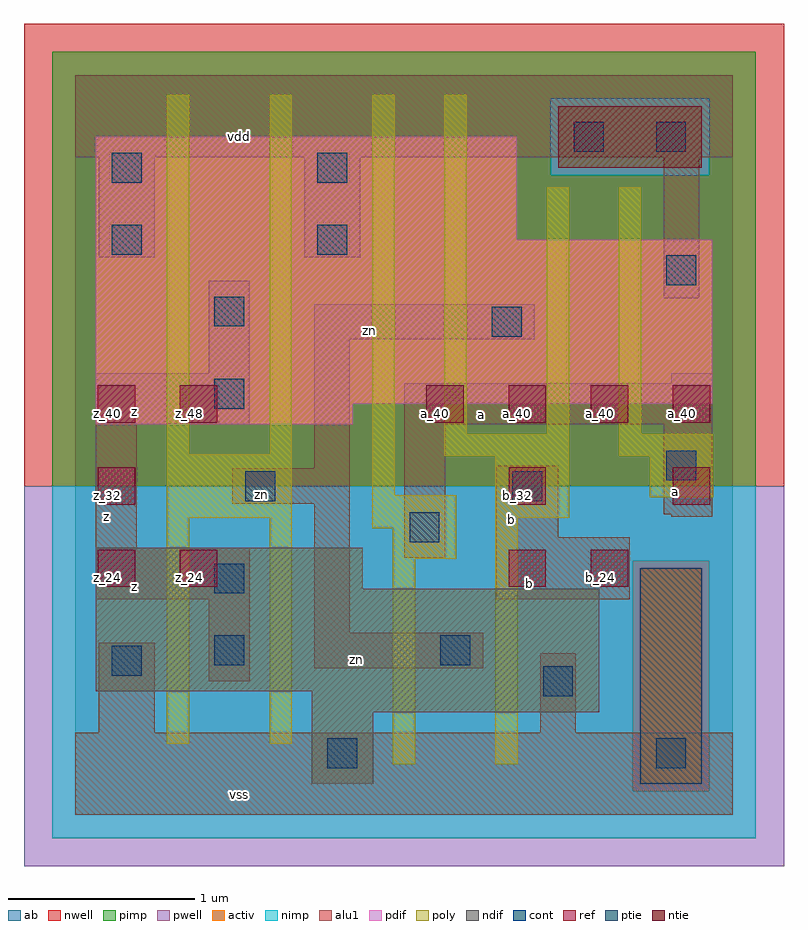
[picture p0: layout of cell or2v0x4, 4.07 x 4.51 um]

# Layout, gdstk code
import gdstk
lib = gdstk.Library(unit=1e-6, precision=2.5e-09)
def R(c, l, rs):  # rectangles x0, y0, x1, y1
    for r in rs: c.add(gdstk.rectangle(r[:2], r[2:], *l))
def A(c, l, x, y, w, h, nx, ny, dx, dy):  # array of equal rectangles
    R(c, l, [(x+i*dx, y+j*dy, x+i*dx+w, y+j*dy+h) for i in range(nx) for j in range(ny)])
ndif = (3, 0)
pdif = (4, 0)
ntie = (5, 0)
ptie = (6, 0)
ref = (24, 0)
cont = (25, 0)
pwell = (41, 0)
nwell = (42, 0)
activ = (43, 0)
pimp = (44, 0)
nimp = (45, 0)
poly = (46, 0)
alu1 = (49, 0)
ab = (63, 0)

or2v0x4 = lib.new_cell('or2v0x4')
R(or2v0x4, ndif, [(1.265,0.165,1.595,0.55), (1.265,0.55,2.805,0.66), (0.11,0.66,2.805,1.21), (0.11,1.21,1.54,1.43)])
R(or2v0x4, pdif, [(0.11,2.09,1.485,2.2), (0.11,2.2,3.41,3.08), (0.11,3.08,2.365,3.63)])
R(or2v0x4, ntie, [(2.585,3.465,3.355,3.795)])
R(or2v0x4, ptie, [(3.025,0.165,3.355,1.32)])
A(or2v0x4, ref, 0.12, 1.22, 0.2, 0.2, 1, 3, 0, 0.44)
A(or2v0x4, ref, 1.88, 2.1, 0.2, 0.2, 4, 1, 0.44, 0)
R(or2v0x4, ref, [(0.56,1.22,0.76,1.42), (2.32,1.22,2.52,1.42), (2.76,1.22,2.96,1.42), (2.32,1.66,2.52,1.86), (3.2,1.66,3.4,1.86), (0.56,2.1,0.76,2.3)])
R(or2v0x4, cont, [(1.35,0.25,1.51,0.41), (3.11,0.25,3.27,0.41), (2.505,0.635,2.665,0.795), (0.195,0.745,0.355,0.905), (0.745,0.8,0.905,0.96), (1.955,0.8,2.115,0.96), (0.745,1.185,0.905,1.345), (1.79,1.46,1.95,1.62), (0.91,1.68,1.07,1.84), (2.34,1.68,2.5,1.84), (3.165,1.79,3.325,1.95), (0.745,2.175,0.905,2.335), (2.23,2.56,2.39,2.72), (0.745,2.615,0.905,2.775), (3.165,2.835,3.325,2.995), (0.195,3,0.355,3.16), (1.295,3,1.455,3.16), (0.195,3.385,0.355,3.545), (1.295,3.385,1.455,3.545), (2.67,3.55,2.83,3.71), (3.11,3.55,3.27,3.71)])
R(or2v0x4, pwell, [(-0.275,-0.275,3.795,1.76)])
R(or2v0x4, nwell, [(-0.275,1.76,3.795,4.235)])
R(or2v0x4, activ, [(1.265,0.165,1.595,0.55), (3.025,0.165,3.355,1.32), (1.265,0.55,2.805,0.66), (0.11,0.66,2.805,1.21), (0.11,1.21,1.54,1.43), (0.11,2.09,1.485,2.2), (0.11,2.2,3.41,3.08), (0.11,3.08,2.365,3.63), (2.585,3.465,3.355,3.795)])
R(or2v0x4, pimp, [(2.985,0.125,3.395,1.36), (-0.125,1.76,3.645,3.425), (-0.125,3.425,2.545,3.835), (3.395,3.425,3.645,3.835), (-0.125,3.835,3.645,4.085)])
R(or2v0x4, nimp, [(-0.125,-0.125,3.645,0.125), (-0.125,0.125,2.985,1.36), (3.395,0.125,3.645,1.36), (-0.125,1.36,3.645,1.76), (2.545,3.425,3.395,3.835)])
R(or2v0x4, poly, [(1.7,0.27,1.82,1.37), (2.25,0.27,2.37,1.59), (0.49,0.38,0.61,1.59), (1.04,0.38,1.16,1.59), (1.7,1.37,2.04,1.535), (1.59,1.535,2.04,1.71), (0.49,1.59,1.16,1.93), (2.25,1.59,2.645,1.92), (3.075,1.7,3.415,1.92), (1.59,1.71,1.71,3.855), (1.975,1.92,2.645,2.04), (2.91,1.92,3.415,2.04), (0.49,1.93,0.61,3.855), (1.04,1.93,1.16,3.855), (1.975,2.04,2.095,3.855), (2.525,2.04,2.645,3.36), (2.91,2.04,3.03,3.36)])
R(or2v0x4, alu1, [(0,0,3.52,0.44), (0.125,0.44,0.425,0.92), (2.49,0.44,2.68,0.865), (0.715,0.715,0.935,1.155), (1.28,0.785,2.185,0.975), (1.28,0.975,1.47,1.665), (0.11,1.155,0.935,1.43), (2.255,1.155,2.97,1.485), (1.76,1.375,1.98,2.09), (0.11,1.43,0.33,2.09), (2.255,1.485,2.585,1.87), (3.19,1.595,3.41,1.61), (3.15,1.61,3.41,2.09), (0.84,1.665,1.47,1.855), (1.28,1.855,1.47,2.545), (0.11,2.09,0.935,2.365), (1.76,2.09,3.41,2.31), (3.19,2.31,3.41,2.365), (0.715,2.365,0.935,2.86), (1.28,2.545,2.46,2.735), (3.15,2.765,3.34,3.52), (0.125,2.985,0.425,3.52), (1.225,2.985,1.525,3.52), (0,3.52,3.52,3.96)])
R(or2v0x4, ab, [(0,0,3.52,3.96)])
or2v0x4.add(gdstk.Label('vss', (0.88,0.11), layer=49, texttype=0))
or2v0x4.add(gdstk.Label('zn', (1.505,0.8325), layer=49, texttype=0))
or2v0x4.add(gdstk.Label('b', (2.4325,1.2375), layer=49, texttype=0))
or2v0x4.add(gdstk.Label('a', (3.215,1.73), layer=49, texttype=0))
or2v0x4.add(gdstk.Label('b', (2.3375,1.58), layer=49, texttype=0))
or2v0x4.add(gdstk.Label('a', (2.1725,2.145), layer=49, texttype=0))
or2v0x4.add(gdstk.Label('z', (0.315,1.2225), layer=49, texttype=0))
or2v0x4.add(gdstk.Label('zn', (0.9975,1.7125), layer=49, texttype=0))
or2v0x4.add(gdstk.Label('z', (0.165,1.595), layer=49, texttype=0))
or2v0x4.add(gdstk.Label('zn', (1.575,2.5925), layer=49, texttype=0))
or2v0x4.add(gdstk.Label('z', (0.315,2.1575), layer=49, texttype=0))
or2v0x4.add(gdstk.Label('vdd', (0.88,3.63), layer=49, texttype=0))
or2v0x4.add(gdstk.Label('z_24', (0.61,1.27), layer=24, texttype=0))
or2v0x4.add(gdstk.Label('z_48', (0.61,2.15), layer=24, texttype=0))
or2v0x4.add(gdstk.Label('a_40', (1.93,2.15), layer=24, texttype=0))
or2v0x4.add(gdstk.Label('z_24', (0.17,1.27), layer=24, texttype=0))
or2v0x4.add(gdstk.Label('z_32', (0.17,1.71), layer=24, texttype=0))
or2v0x4.add(gdstk.Label('z_40', (0.17,2.15), layer=24, texttype=0))
or2v0x4.add(gdstk.Label('b_24', (2.37,1.27), layer=24, texttype=0))
or2v0x4.add(gdstk.Label('b_32', (2.37,1.71), layer=24, texttype=0))
or2v0x4.add(gdstk.Label('a_40', (2.37,2.15), layer=24, texttype=0))
or2v0x4.add(gdstk.Label('b_24', (2.81,1.27), layer=24, texttype=0))
or2v0x4.add(gdstk.Label('a_40', (2.81,2.15), layer=24, texttype=0))
or2v0x4.add(gdstk.Label('a_32', (3.25,1.71), layer=24, texttype=0))
or2v0x4.add(gdstk.Label('a_40', (3.25,2.15), layer=24, texttype=0))

lib.write_gds('or2v0x4.gds')
